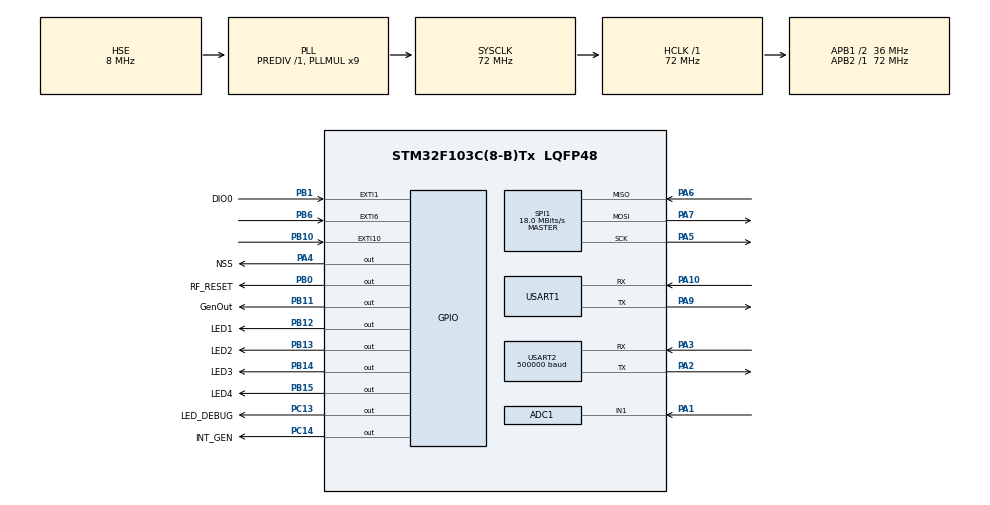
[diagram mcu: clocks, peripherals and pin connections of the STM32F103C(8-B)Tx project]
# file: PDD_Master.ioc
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ADC1.Channel-1\#ChannelRegularConversion=ADC_CHANNEL_1
ADC1.ContinuousConvMode=ENABLE
ADC1.NbrOfConversionFlag=1
ADC1.Rank-1\#ChannelRegularConversion=1
ADC1.SamplingTime-1\#ChannelRegularConversion=ADC_SAMPLETIME_55CYCLES_5
ADC1.master=1
Dma.ADC1.2.Direction=DMA_PERIPH_TO_MEMORY
Dma.ADC1.2.Instance=DMA1_Channel1
Dma.ADC1.2.MemDataAlignment=DMA_MDATAALIGN_HALFWORD
Dma.ADC1.2.MemInc=DMA_MINC_ENABLE
Dma.ADC1.2.Mode=DMA_CIRCULAR
Dma.ADC1.2.PeriphDataAlignment=DMA_PDATAALIGN_HALFWORD
Dma.ADC1.2.PeriphInc=DMA_PINC_DISABLE
Dma.ADC1.2.Priority=DMA_PRIORITY_LOW
Dma.Request0=USART1_RX
Dma.Request1=USART2_TX
Dma.Request2=ADC1
Dma.USART1_RX.0.Direction=DMA_PERIPH_TO_MEMORY
Dma.USART1_RX.0.Instance=DMA1_Channel5
Dma.USART1_RX.0.MemDataAlignment=DMA_MDATAALIGN_BYTE
Dma.USART1_RX.0.MemInc=DMA_MINC_ENABLE
Dma.USART1_RX.0.Mode=DMA_NORMAL
Dma.USART1_RX.0.PeriphDataAlignment=DMA_PDATAALIGN_BYTE
Dma.USART1_RX.0.PeriphInc=DMA_PINC_DISABLE
Dma.USART1_RX.0.Priority=DMA_PRIORITY_LOW
Dma.USART2_TX.1.Direction=DMA_MEMORY_TO_PERIPH
Dma.USART2_TX.1.Instance=DMA1_Channel7
Dma.USART2_TX.1.MemDataAlignment=DMA_MDATAALIGN_BYTE
Dma.USART2_TX.1.MemInc=DMA_MINC_ENABLE
Dma.USART2_TX.1.Mode=DMA_NORMAL
Dma.USART2_TX.1.PeriphDataAlignment=DMA_PDATAALIGN_BYTE
Dma.USART2_TX.1.PeriphInc=DMA_PINC_DISABLE
Dma.USART2_TX.1.Priority=DMA_PRIORITY_LOW
Mcu.Family=STM32F1
Mcu.Name=STM32F103C(8-B)Tx
Mcu.Package=LQFP48
NVIC.DMA1_Channel1_IRQn=true\:0\:0\:false\:false\:true\:false\:true\:true
NVIC.DMA1_Channel5_IRQn=true\:0\:0\:false\:false\:true\:false\:true\:true
NVIC.DMA1_Channel7_IRQn=true\:0\:0\:false\:false\:true\:false\:true\:true
NVIC.EXTI15_10_IRQn=true\:0\:0\:false\:false\:true\:true\:true\:true
NVIC.EXTI1_IRQn=true\:0\:0\:false\:false\:true\:true\:true\:true
NVIC.EXTI9_5_IRQn=true\:0\:0\:false\:false\:true\:true\:true\:true
NVIC.PriorityGroup=NVIC_PRIORITYGROUP_4
NVIC.TIM1_UP_IRQn=true\:0\:0\:true\:false\:true\:true\:true\:true
NVIC.TIM3_IRQn=true\:1\:0\:true\:false\:true\:true\:true\:true
NVIC.USART1_IRQn=true\:0\:0\:false\:false\:true\:true\:true\:true
NVIC.USART2_IRQn=true\:0\:0\:false\:false\:true\:true\:true\:true
PA1.Signal=ADCx_IN1
PA10.Mode=Asynchronous
PA10.Signal=USART1_RX
PA13.Mode=Serial_Wire
PA13.Signal=SYS_JTMS-SWDIO
PA14.Mode=Serial_Wire
PA14.Signal=SYS_JTCK-SWCLK
PA2.Mode=Asynchronous
PA2.Signal=USART2_TX
PA3.Mode=Asynchronous
PA3.Signal=USART2_RX
PA4.GPIO_Label=NSS
PA4.Signal=GPIO_Output
PA5.Mode=Full_Duplex_Master
PA5.Signal=SPI1_SCK
PA6.Mode=Full_Duplex_Master
PA6.Signal=SPI1_MISO
PA7.Mode=Full_Duplex_Master
PA7.Signal=SPI1_MOSI
PA9.Mode=Asynchronous
PA9.Signal=USART1_TX
PB0.GPIO_Label=RF_RESET
PB0.Signal=GPIO_Output
PB1.GPIO_Label=DIO0
PB1.GPIO_PuPd=GPIO_PULLDOWN
PB1.Signal=GPXTI1
PB10.GPIO_PuPd=GPIO_PULLDOWN
PB10.Signal=GPXTI10
PB11.GPIO_Label=GenOut
PB11.Signal=GPIO_Output
PB12.GPIO_Label=LED1
PB12.Signal=GPIO_Output
PB13.GPIO_Label=LED2
PB13.Signal=GPIO_Output
PB14.GPIO_Label=LED3
PB14.Signal=GPIO_Output
PB15.GPIO_Label=LED4
PB15.Signal=GPIO_Output
PB6.GPIO_ModeDefaultEXTI=GPIO_MODE_IT_RISING_FALLING
PB6.Signal=GPXTI6
PC13-TAMPER-RTC.GPIO_Label=LED_DEBUG
PC13-TAMPER-RTC.Signal=GPIO_Output
PC14-OSC32_IN.GPIO_Label=INT_GEN
PC14-OSC32_IN.Signal=GPIO_Output
PD0-OSC_IN.Mode=HSE-External-Oscillator
PD0-OSC_IN.Signal=RCC_OSC_IN
PD1-OSC_OUT.Mode=HSE-External-Oscillator
PD1-OSC_OUT.Signal=RCC_OSC_OUT
ProjectManager.HeapSize=0x200
ProjectManager.StackSize=0x400
ProjectManager.TargetToolchain=MDK-ARM V5.32
RCC.ADCPresc=RCC_ADCPCLK2_DIV6
RCC.AHBFreq_Value=72000000
RCC.APB1CLKDivider=RCC_HCLK_DIV2
RCC.APB1Freq_Value=36000000
RCC.APB1TimFreq_Value=72000000
RCC.APB2Freq_Value=72000000
RCC.APB2TimFreq_Value=72000000
RCC.HCLKFreq_Value=72000000
RCC.PLLMUL=RCC_PLL_MUL9
RCC.PLLSourceVirtual=RCC_PLLSOURCE_HSE
RCC.SYSCLKFreq_VALUE=72000000
RCC.SYSCLKSource=RCC_SYSCLKSOURCE_PLLCLK
RCC.USBFreq_Value=72000000
SH.ADCx_IN1.0=ADC1_IN1,IN1
SPI1.BaudRatePrescaler=SPI_BAUDRATEPRESCALER_4
SPI1.CalculateBaudRate=18.0 MBits/s
SPI1.Direction=SPI_DIRECTION_2LINES
SPI1.Mode=SPI_MODE_MASTER
SPI1.VirtualType=VM_MASTER
TIM1.AutoReloadPreload=TIM_AUTORELOAD_PRELOAD_ENABLE
TIM1.Period=49
TIM1.Prescaler=71
TIM3.Prescaler=71
USART1.VirtualMode=VM_ASYNC
USART2.BaudRate=500000
USART2.VirtualMode=VM_ASYNC
VP_TIM1_VS_ClockSourceINT.Mode=Internal
VP_TIM3_VS_ClockSourceINT.Mode=Internal
board=custom

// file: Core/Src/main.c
/* USER CODE BEGIN Header */
/**
  ******************************************************************************
  * @file           : main.c
  * @brief          : Main program body
  ******************************************************************************
  * @attention
  *
  * Copyright (c) 2026 STMicroelectronics.
  * All rights reserved.
  *
  * This software is licensed under terms that can be found in the LICENSE file
  * in the root directory of this software component.
  * If no LICENSE file comes with this software, it is provided AS-IS.
  *
  ******************************************************************************
  */
/* USER CODE END Header */
#include "main.h"

/* USER CODE BEGIN Includes */

#include "LoRa.h"
#include <string.h>

#include <stdio.h>

/* USER CODE END Includes */

/* USER CODE BEGIN PD */

#define ON_LED_DEBUG( )	HAL_GPIO_WritePin(LED_DEBUG_GPIO_Port, LED_DEBUG_Pin, GPIO_PIN_RESET)
#define OFF_LED_DEBUG( )	HAL_GPIO_WritePin(LED_DEBUG_GPIO_Port, LED_DEBUG_Pin, GPIO_PIN_SET)

#define ON_LED1( )	HAL_GPIO_WritePin(LED1_GPIO_Port, LED1_Pin, GPIO_PIN_RESET)
#define OFF_LED1( )	HAL_GPIO_WritePin(LED1_GPIO_Port, LED1_Pin, GPIO_PIN_SET)

#define ON_LED2( )	HAL_GPIO_WritePin(LED2_GPIO_Port, LED2_Pin, GPIO_PIN_RESET)
#define OFF_LED2( )	HAL_GPIO_WritePin(LED2_GPIO_Port, LED2_Pin, GPIO_PIN_SET)

#define ON_LED3( )	HAL_GPIO_WritePin(LED3_GPIO_Port, LED3_Pin, GPIO_PIN_RESET)
#define OFF_LED3( )	HAL_GPIO_WritePin(LED3_GPIO_Port, LED3_Pin, GPIO_PIN_SET)

#define ON_LED4( )	HAL_GPIO_WritePin(LED4_GPIO_Port, LED4_Pin, GPIO_PIN_RESET)
#define OFF_LED4( )	HAL_GPIO_WritePin(LED4_GPIO_Port, LED4_Pin, GPIO_PIN_SET)

#define MA_SIZE 5

#define ZERO_PA 2050

typedef struct
{
    uint16_t buf[MA_SIZE];
    uint32_t sum;
    uint8_t index;
} MA_Filter_t;

/* USER CODE END PD */

ADC_HandleTypeDef hadc1;
DMA_HandleTypeDef hdma_adc1;

SPI_HandleTypeDef hspi1;

TIM_HandleTypeDef htim1;
TIM_HandleTypeDef htim3;

UART_HandleTypeDef huart1;
UART_HandleTypeDef huart2;
DMA_HandleTypeDef hdma_usart1_rx;
DMA_HandleTypeDef hdma_usart2_tx;

/* USER CODE BEGIN PV */

uint32_t tick = 0;
volatile uint32_t cnt_timetick = 0;

LoRa vLoRa;

uint8_t TX_Lora_buff[12];
uint8_t RX_LoRa_buff[12];

uint8_t send_ok = 0;
uint16_t num_RX_irq_LoRa = 0;
uint8_t flag_Lora_Rx = 0;

uint16_t config_lora = 0xFA;

uint8_t cnt = 0;

		uint16_t sendOK = 0;
		uint16_t recOK = 0;

		uint32_t cycle = 80000;

		//uint8_t enable_detect_phase = 0;

		uint64_t last_zc = 0;
		uint64_t now_zc = 0;
		uint32_t interval_zc = 0;

		// uint8_t phase_detected = 0;

//uint16_t calib_zero_buff[1000];

volatile uint8_t flag_cnt_50us = 0;
volatile uint8_t flag_enable_zc = 0;

volatile uint16_t zc_capture_CH1 = 0;
volatile uint32_t trigger_tim2_CH1 = 0;

// sender
volatile uint8_t trigger_send_lora = 0;

uint16_t adc_raw_pA = 0;
uint16_t adc_filtered_pA = 0;

uint16_t adc_raw_pB = 0;
uint16_t adc_filtered_pB = 0;

uint16_t adc_raw_pC = 0;
uint16_t adc_filtered_pC = 0;

uint16_t pA_cur = 0;
uint16_t pA_prev = 0;

uint16_t pB_cur = 0;
uint16_t pB_prev = 0;

uint16_t pC_cur = 0;
uint16_t pC_prev = 0;

volatile uint32_t ovf_tim3 = 0;

uint8_t flag_tx_log = 0;

char uart_tx_log[100];

uint32_t stt = 0;

uint16_t log_buff[1000];
uint16_t log_index = 0;

volatile uint8_t flag_get_zero = 0;
uint16_t offset_ZpA = 0;

/* USER CODE END PV */

void SystemClock_Config(void);
static void MX_GPIO_Init(void);
static void MX_DMA_Init(void);
static void MX_TIM1_Init(void);
static void MX_USART1_UART_Init(void);
static void MX_USART2_UART_Init(void);
static void MX_ADC1_Init(void);
static void MX_SPI1_Init(void);
static void MX_TIM3_Init(void);

/* USER CODE BEGIN 0 */
volatile uint16_t cnt_filter = 0;
void HAL_TIM_PeriodElapsedCallback(TIM_HandleTypeDef *htim)
{
  if (htim->Instance == TIM1)
  {
    cnt_timetick++;
		flag_cnt_50us++;
  }
  if(htim->Instance == TIM3)
  {
    ovf_tim3++;
  }
}

void HAL_GPIO_EXTI_Callback(uint16_t GPIO_Pin)
	{
		/* Prevent unused argument(s) compilation warning */
		UNUSED(GPIO_Pin);

//		if(GPIO_Pin == vLoRa.DIO0_pin)
//		{
//			num_RX_irq_LoRa++;
//			flag_Lora_Rx = 1;
//		}

	}

void MA_Init(MA_Filter_t *f, uint16_t init_value)
{
    f->sum = 0;
    f->index = 0;

    for(int i=0; i<MA_SIZE; i++)
    {
        f->buf[i] = init_value;
        f->sum += init_value;
    }
}

uint16_t MA_Update(MA_Filter_t *f, uint16_t sample)
{
    f->sum -= f->buf[f->index];

    f->buf[f->index] = sample;

    f->sum += sample;

    f->index++;

    if(f->index >= MA_SIZE)
        f->index = 0;

    return f->sum / MA_SIZE;
}

uint64_t GetTimeUs(){
  uint32_t ovf1, ovf2;
  uint32_t cnt;

  do {
    ovf1 = ovf_tim3;
    cnt = TIM3->CNT;
    ovf2 = ovf_tim3;
  } while (ovf1 != ovf2); // Guard against rollover during reading

  return ((uint64_t)ovf1 << 16) + cnt;
}

/* USER CODE END 0 */

int main(void)
{

  /* MCU Configuration--------------------------------------------------------*/

  /* Reset of all peripherals, Initializes the Flash interface and the Systick. */
  HAL_Init();

  /* Configure the system clock */
  SystemClock_Config();

  /* Initialize all configured peripherals */
  MX_GPIO_Init();
  MX_DMA_Init();
  MX_TIM1_Init();
  MX_USART1_UART_Init();
  MX_USART2_UART_Init();
  MX_ADC1_Init();
  MX_SPI1_Init();
  MX_TIM3_Init();
  /* USER CODE BEGIN 2 */
	  HAL_GPIO_WritePin(LED_DEBUG_GPIO_Port, LED_DEBUG_Pin, GPIO_PIN_RESET);

  HAL_GPIO_WritePin(LED1_GPIO_Port, LED1_Pin, GPIO_PIN_RESET);

	Lora_Init(&vLoRa, &hspi1, 808);
	LoRa_reset(&vLoRa);

	config_lora = LoRa_Config(&vLoRa);

	while(config_lora!=0x00C8){
			HAL_GPIO_WritePin(LED_DEBUG_GPIO_Port, LED_DEBUG_Pin, GPIO_PIN_RESET);

	}
	HAL_GPIO_WritePin(LED_DEBUG_GPIO_Port, LED_DEBUG_Pin, GPIO_PIN_SET);

	LoRa_startReceiving(&vLoRa);

  HAL_TIM_Base_Start_IT(&htim1);
  HAL_TIM_Base_Start_IT(&htim3);

	HAL_ADC_Start_DMA(&hadc1, (uint32_t*)&adc_raw_pA, 1);

  MA_Filter_t adcFilter_pA;
  MA_Init(&adcFilter_pA, ZERO_PA);

	HAL_GPIO_WritePin(GenOut_GPIO_Port, GenOut_Pin, GPIO_PIN_RESET);

  /* USER CODE END 2 */

  /* Infinite loop */
  while (1)
  {

    /* USER CODE BEGIN 3 */
		tick++;

		if(cnt_timetick >= cycle)
    {
      cnt_timetick = 0;
			//HAL_GPIO_TogglePin(LED_DEBUG_GPIO_Port, LED_DEBUG_Pin);
      flag_enable_zc = 1;
    }

    if(flag_cnt_50us >= 2)    //100us
    {
      flag_cnt_50us = 0;
      adc_filtered_pA = MA_Update(&adcFilter_pA, adc_raw_pA);

      pA_cur = adc_filtered_pA;

      if(pA_cur != 0 && pA_prev != 0 && flag_enable_zc == 1)
			//if(pA_cur != 0 && pA_prev != 0)
      {
          if(pA_prev <= ZERO_PA && pA_cur > ZERO_PA)
          {
							now_zc = GetTimeUs();
							HAL_GPIO_WritePin(GenOut_GPIO_Port, GenOut_Pin, GPIO_PIN_SET);

							TX_Lora_buff[0] = 0xAA;
							TX_Lora_buff[1] = 0x55;
							TX_Lora_buff[2] = 1;
							TX_Lora_buff[3] = cnt++;
							TX_Lora_buff[4] = TX_Lora_buff[0] + TX_Lora_buff[1] + TX_Lora_buff[2] + TX_Lora_buff[3];
							TX_Lora_buff[5] = 6;
							TX_Lora_buff[6] = 7;
							TX_Lora_buff[7] = 8;
							TX_Lora_buff[8] = 9;
							TX_Lora_buff[9] = 10;
							TX_Lora_buff[10] = 11;
							TX_Lora_buff[11] = 12;
							send_ok = LoRa_transmit(&vLoRa, (uint8_t*)TX_Lora_buff, 5, 10000000);
							HAL_GPIO_WritePin(GenOut_GPIO_Port, GenOut_Pin, GPIO_PIN_RESET);

							if(send_ok == 1){
								 HAL_GPIO_TogglePin(LED_DEBUG_GPIO_Port, LED_DEBUG_Pin);
									sendOK++;
							}

              //trigger_send_lora = 1;
              flag_enable_zc = 0;

              interval_zc = now_zc - last_zc;
              last_zc = now_zc;
							//flag_tx_log = 1;
          }
      }

      pA_prev = pA_cur;
    }

		// code mach sender
    if(trigger_send_lora == 1)
    {
			TX_Lora_buff[0] = 0xAA;
			TX_Lora_buff[1] = 0x55;
			TX_Lora_buff[2] = 1;
			TX_Lora_buff[3] = cnt++;
			TX_Lora_buff[4] = TX_Lora_buff[0] + TX_Lora_buff[1] + TX_Lora_buff[2] + TX_Lora_buff[3];
			TX_Lora_buff[5] = 6;
			TX_Lora_buff[6] = 7;
			TX_Lora_buff[7] = 8;
			TX_Lora_buff[8] = 9;
			TX_Lora_buff[9] = 10;
			TX_Lora_buff[10] = 11;
			TX_Lora_buff[11] = 12;
			send_ok = LoRa_transmit(&vLoRa, (uint8_t*)TX_Lora_buff, 5, 10000000);
			HAL_GPIO_WritePin(GenOut_GPIO_Port, GenOut_Pin, GPIO_PIN_RESET);

			if(send_ok == 1){
				 HAL_GPIO_TogglePin(LED_DEBUG_GPIO_Port, LED_DEBUG_Pin);
					sendOK++;
			}
			trigger_send_lora = 0;
    }

		if(flag_get_zero){
			flag_get_zero = 0;

			uint32_t sum = 0;
			for(uint16_t i=0; i<1000; i++){
				sum+= adc_raw_pA;
				HAL_Delay(1);
			}
			offset_ZpA = sum/1000;
		}

		if(flag_tx_log == 1){
			flag_tx_log = 0;
			sprintf(uart_tx_log, "%u %u %u %d\n",++stt, adc_raw_pA, adc_filtered_pA, interval_zc);
			HAL_UART_Transmit_DMA(&huart2, (uint8_t*)uart_tx_log, strlen(uart_tx_log));
		}

//			if(flag_Lora_Rx == 1){
//				flag_Lora_Rx = 0;
//
//				LoRa_receive(&vLoRa, (uint8_t*)RX_LoRa, 12);
//
//				if(memcmp(RX_LoRa, TX_toRB, 12) == 0){
//					HAL_GPIO_TogglePin(LED_DEBUG_GPIO_Port, LED_DEBUG_Pin);
//					interval = TIM3->CNT - start;;
//					//interval = HAL_GetTick() - start;
//					recOK++;
//				}
//			}

  }
  /* USER CODE END 3 */
}

void SystemClock_Config(void)
{
  RCC_OscInitTypeDef RCC_OscInitStruct = {0};
  RCC_ClkInitTypeDef RCC_ClkInitStruct = {0};
  RCC_PeriphCLKInitTypeDef PeriphClkInit = {0};

  /** Initializes the RCC Oscillators according to the specified parameters
  * in the RCC_OscInitTypeDef structure.
  */
  RCC_OscInitStruct.OscillatorType = RCC_OSCILLATORTYPE_HSE;
  RCC_OscInitStruct.HSEState = RCC_HSE_ON;
  RCC_OscInitStruct.HSEPredivValue = RCC_HSE_PREDIV_DIV1;
  RCC_OscInitStruct.HSIState = RCC_HSI_ON;
  RCC_OscInitStruct.PLL.PLLState = RCC_PLL_ON;
  RCC_OscInitStruct.PLL.PLLSource = RCC_PLLSOURCE_HSE;
  RCC_OscInitStruct.PLL.PLLMUL = RCC_PLL_MUL9;
  if (HAL_RCC_OscConfig(&RCC_OscInitStruct) != HAL_OK)
  {
    Error_Handler();
  }

  /** Initializes the CPU, AHB and APB buses clocks
  */
  RCC_ClkInitStruct.ClockType = RCC_CLOCKTYPE_HCLK|RCC_CLOCKTYPE_SYSCLK
                              |RCC_CLOCKTYPE_PCLK1|RCC_CLOCKTYPE_PCLK2;
  RCC_ClkInitStruct.SYSCLKSource = RCC_SYSCLKSOURCE_PLLCLK;
  RCC_ClkInitStruct.AHBCLKDivider = RCC_SYSCLK_DIV1;
  RCC_ClkInitStruct.APB1CLKDivider = RCC_HCLK_DIV2;
  RCC_ClkInitStruct.APB2CLKDivider = RCC_HCLK_DIV1;

  if (HAL_RCC_ClockConfig(&RCC_ClkInitStruct, FLASH_LATENCY_2) != HAL_OK)
  {
    Error_Handler();
  }
  PeriphClkInit.PeriphClockSelection = RCC_PERIPHCLK_ADC;
  PeriphClkInit.AdcClockSelection = RCC_ADCPCLK2_DIV6;
  if (HAL_RCCEx_PeriphCLKConfig(&PeriphClkInit) != HAL_OK)
  {
    Error_Handler();
  }
}

static void MX_ADC1_Init(void)
{

  ADC_ChannelConfTypeDef sConfig = {0};

  /** Common config
  */
  hadc1.Instance = ADC1;
  hadc1.Init.ScanConvMode = ADC_SCAN_DISABLE;
  hadc1.Init.ContinuousConvMode = ENABLE;
  hadc1.Init.DiscontinuousConvMode = DISABLE;
  hadc1.Init.ExternalTrigConv = ADC_SOFTWARE_START;
  hadc1.Init.DataAlign = ADC_DATAALIGN_RIGHT;
  hadc1.Init.NbrOfConversion = 1;
  if (HAL_ADC_Init(&hadc1) != HAL_OK)
  {
    Error_Handler();
  }

  /** Configure Regular Channel
  */
  sConfig.Channel = ADC_CHANNEL_1;
  sConfig.Rank = ADC_REGULAR_RANK_1;
  sConfig.SamplingTime = ADC_SAMPLETIME_55CYCLES_5;
  if (HAL_ADC_ConfigChannel(&hadc1, &sConfig) != HAL_OK)
  {
    Error_Handler();
  }

}

static void MX_SPI1_Init(void)
{

  /* SPI1 parameter configuration*/
  hspi1.Instance = SPI1;
  hspi1.Init.Mode = SPI_MODE_MASTER;
  hspi1.Init.Direction = SPI_DIRECTION_2LINES;
  hspi1.Init.DataSize = SPI_DATASIZE_8BIT;
  hspi1.Init.CLKPolarity = SPI_POLARITY_LOW;
  hspi1.Init.CLKPhase = SPI_PHASE_1EDGE;
  hspi1.Init.NSS = SPI_NSS_SOFT;
  hspi1.Init.BaudRatePrescaler = SPI_BAUDRATEPRESCALER_4;
  hspi1.Init.FirstBit = SPI_FIRSTBIT_MSB;
  hspi1.Init.TIMode = SPI_TIMODE_DISABLE;
  hspi1.Init.CRCCalculation = SPI_CRCCALCULATION_DISABLE;
  hspi1.Init.CRCPolynomial = 10;
  if (HAL_SPI_Init(&hspi1) != HAL_OK)
  {
    Error_Handler();
  }

}

static void MX_TIM1_Init(void)
{

  TIM_ClockConfigTypeDef sClockSourceConfig = {0};
  TIM_MasterConfigTypeDef sMasterConfig = {0};

  htim1.Instance = TIM1;
  htim1.Init.Prescaler = 71;
  htim1.Init.CounterMode = TIM_COUNTERMODE_UP;
  htim1.Init.Period = 49;
  htim1.Init.ClockDivision = TIM_CLOCKDIVISION_DIV1;
  htim1.Init.RepetitionCounter = 0;
  htim1.Init.AutoReloadPreload = TIM_AUTORELOAD_PRELOAD_ENABLE;
  if (HAL_TIM_Base_Init(&htim1) != HAL_OK)
  {
    Error_Handler();
  }
  sClockSourceConfig.ClockSource = TIM_CLOCKSOURCE_INTERNAL;
  if (HAL_TIM_ConfigClockSource(&htim1, &sClockSourceConfig) != HAL_OK)
  {
    Error_Handler();
  }
  sMasterConfig.MasterOutputTrigger = TIM_TRGO_RESET;
  sMasterConfig.MasterSlaveMode = TIM_MASTERSLAVEMODE_DISABLE;
  if (HAL_TIMEx_MasterConfigSynchronization(&htim1, &sMasterConfig) != HAL_OK)
  {
    Error_Handler();
  }

}

static void MX_TIM3_Init(void)
{

  TIM_ClockConfigTypeDef sClockSourceConfig = {0};
  TIM_MasterConfigTypeDef sMasterConfig = {0};

  htim3.Instance = TIM3;
  htim3.Init.Prescaler = 71;
  htim3.Init.CounterMode = TIM_COUNTERMODE_UP;
  htim3.Init.Period = 65535;
  htim3.Init.ClockDivision = TIM_CLOCKDIVISION_DIV1;
  htim3.Init.AutoReloadPreload = TIM_AUTORELOAD_PRELOAD_DISABLE;
  if (HAL_TIM_Base_Init(&htim3) != HAL_OK)
  {
    Error_Handler();
  }
  sClockSourceConfig.ClockSource = TIM_CLOCKSOURCE_INTERNAL;
  if (HAL_TIM_ConfigClockSource(&htim3, &sClockSourceConfig) != HAL_OK)
  {
    Error_Handler();
  }
  sMasterConfig.MasterOutputTrigger = TIM_TRGO_RESET;
  sMasterConfig.MasterSlaveMode = TIM_MASTERSLAVEMODE_DISABLE;
  if (HAL_TIMEx_MasterConfigSynchronization(&htim3, &sMasterConfig) != HAL_OK)
  {
    Error_Handler();
  }

}

static void MX_USART1_UART_Init(void)
{

  huart1.Instance = USART1;
  huart1.Init.BaudRate = 115200;
  huart1.Init.WordLength = UART_WORDLENGTH_8B;
  huart1.Init.StopBits = UART_STOPBITS_1;
  huart1.Init.Parity = UART_PARITY_NONE;
  huart1.Init.Mode = UART_MODE_TX_RX;
  huart1.Init.HwFlowCtl = UART_HWCONTROL_NONE;
  huart1.Init.OverSampling = UART_OVERSAMPLING_16;
  if (HAL_UART_Init(&huart1) != HAL_OK)
  {
    Error_Handler();
  }

}

static void MX_USART2_UART_Init(void)
{

  huart2.Instance = USART2;
  huart2.Init.BaudRate = 500000;
  huart2.Init.WordLength = UART_WORDLENGTH_8B;
  huart2.Init.StopBits = UART_STOPBITS_1;
  huart2.Init.Parity = UART_PARITY_NONE;
  huart2.Init.Mode = UART_MODE_TX_RX;
  huart2.Init.HwFlowCtl = UART_HWCONTROL_NONE;
  huart2.Init.OverSampling = UART_OVERSAMPLING_16;
  if (HAL_UART_Init(&huart2) != HAL_OK)
  {
    Error_Handler();
  }

}

static void MX_DMA_Init(void)
{

  /* DMA controller clock enable */
  __HAL_RCC_DMA1_CLK_ENABLE();

  /* DMA interrupt init */
  /* DMA1_Channel1_IRQn interrupt configuration */
  HAL_NVIC_SetPriority(DMA1_Channel1_IRQn, 0, 0);
  HAL_NVIC_EnableIRQ(DMA1_Channel1_IRQn);
  /* DMA1_Channel5_IRQn interrupt configuration */
  HAL_NVIC_SetPriority(DMA1_Channel5_IRQn, 0, 0);
  HAL_NVIC_EnableIRQ(DMA1_Channel5_IRQn);
  /* DMA1_Channel7_IRQn interrupt configuration */
  HAL_NVIC_SetPriority(DMA1_Channel7_IRQn, 0, 0);
  HAL_NVIC_EnableIRQ(DMA1_Channel7_IRQn);

}

static void MX_GPIO_Init(void)
{
  GPIO_InitTypeDef GPIO_InitStruct = {0};

  /* GPIO Ports Clock Enable */
  __HAL_RCC_GPIOC_CLK_ENABLE();
  __HAL_RCC_GPIOD_CLK_ENABLE();
  __HAL_RCC_GPIOA_CLK_ENABLE();
  __HAL_RCC_GPIOB_CLK_ENABLE();

  /*Configure GPIO pin Output Level */
  HAL_GPIO_WritePin(GPIOC, LED_DEBUG_Pin|INT_GEN_Pin, GPIO_PIN_RESET);

  /*Configure GPIO pin Output Level */
  HAL_GPIO_WritePin(NSS_GPIO_Port, NSS_Pin, GPIO_PIN_RESET);

  /*Configure GPIO pin Output Level */
  HAL_GPIO_WritePin(GPIOB, RF_RESET_Pin|GenOut_Pin|LED1_Pin|LED2_Pin
                          |LED3_Pin|LED4_Pin, GPIO_PIN_RESET);

  /*Configure GPIO pins : LED_DEBUG_Pin INT_GEN_Pin */
  GPIO_InitStruct.Pin = LED_DEBUG_Pin|INT_GEN_Pin;
  GPIO_InitStruct.Mode = GPIO_MODE_OUTPUT_PP;
  GPIO_InitStruct.Pull = GPIO_NOPULL;
  GPIO_InitStruct.Speed = GPIO_SPEED_FREQ_LOW;
  HAL_GPIO_Init(GPIOC, &GPIO_InitStruct);

  /*Configure GPIO pin : NSS_Pin */
  GPIO_InitStruct.Pin = NSS_Pin;
  GPIO_InitStruct.Mode = GPIO_MODE_OUTPUT_PP;
  GPIO_InitStruct.Pull = GPIO_NOPULL;
  GPIO_InitStruct.Speed = GPIO_SPEED_FREQ_LOW;
  HAL_GPIO_Init(NSS_GPIO_Port, &GPIO_InitStruct);

  /*Configure GPIO pins : RF_RESET_Pin GenOut_Pin LED1_Pin LED2_Pin
                           LED3_Pin LED4_Pin */
  GPIO_InitStruct.Pin = RF_RESET_Pin|GenOut_Pin|LED1_Pin|LED2_Pin
                          |LED3_Pin|LED4_Pin;
  GPIO_InitStruct.Mode = GPIO_MODE_OUTPUT_PP;
  GPIO_InitStruct.Pull = GPIO_NOPULL;
  GPIO_InitStruct.Speed = GPIO_SPEED_FREQ_LOW;
  HAL_GPIO_Init(GPIOB, &GPIO_InitStruct);

  /*Configure GPIO pins : DIO0_Pin PB10 */
  GPIO_InitStruct.Pin = DIO0_Pin|GPIO_PIN_10;
  GPIO_InitStruct.Mode = GPIO_MODE_IT_RISING;
  GPIO_InitStruct.Pull = GPIO_PULLDOWN;
  HAL_GPIO_Init(GPIOB, &GPIO_InitStruct);

  /*Configure GPIO pin : PB6 */
  GPIO_InitStruct.Pin = GPIO_PIN_6;
  GPIO_InitStruct.Mode = GPIO_MODE_IT_RISING_FALLING;
  GPIO_InitStruct.Pull = GPIO_NOPULL;
  HAL_GPIO_Init(GPIOB, &GPIO_InitStruct);

  /* EXTI interrupt init*/
  HAL_NVIC_SetPriority(EXTI1_IRQn, 0, 0);
  HAL_NVIC_EnableIRQ(EXTI1_IRQn);

  HAL_NVIC_SetPriority(EXTI9_5_IRQn, 0, 0);
  HAL_NVIC_EnableIRQ(EXTI9_5_IRQn);

  HAL_NVIC_SetPriority(EXTI15_10_IRQn, 0, 0);
  HAL_NVIC_EnableIRQ(EXTI15_10_IRQn);

}

void Error_Handler(void)
{
  __disable_irq();
  while (1)
  {
  }
}
